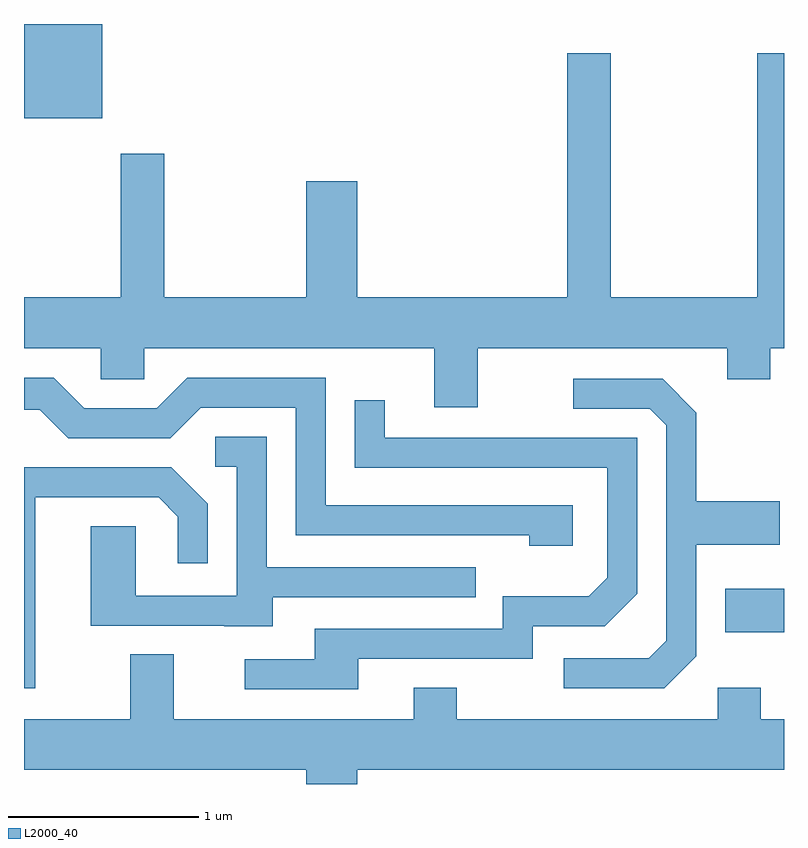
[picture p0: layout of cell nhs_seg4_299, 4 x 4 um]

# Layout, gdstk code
import gdstk
lib = gdstk.Library(unit=1e-6, precision=1e-09)
def R(c, l, rs):  # rectangles x0, y0, x1, y1
    for r in rs: c.add(gdstk.rectangle(r[:2], r[2:], *l))
def P(c, l, *ps):  # polygons
    for p in ps: c.add(gdstk.Polygon(p, *l))
L2000_40 = (2000, 40)

nhs_seg4_299 = lib.new_cell('nhs_seg4_299')
R(nhs_seg4_299, L2000_40, [(197.301,1308.781,197.611,1309.009), (193.611,1311.486,194.024,1311.982), (196.796,1311.981,197.374,1311.982)])
P(nhs_seg4_299, L2000_40, [(195.999,1310.276),(197.311,1310.276),(197.311,1310.111),(197.539,1310.111),(197.539,1310.276),(197.611,1310.276),(197.611,1311.829),(197.471,1311.829),(197.471,1310.544),(196.699,1310.544),(196.699,1311.829),(196.471,1311.829),(196.471,1310.544),(195.364,1310.544),(195.364,1311.154),(195.096,1311.154),(195.096,1310.544),(194.349,1310.544),(194.349,1311.299),(194.121,1311.299),(194.121,1310.544),(193.611,1310.544),(193.611,1310.276),(194.016,1310.276),(194.016,1310.111),(194.244,1310.111),(194.244,1310.276),(195.771,1310.276),(195.771,1309.966),(195.999,1309.966)],
  [(196.499,1309.449),(195.199,1309.449),(195.199,1310.119),(194.469,1310.119),(194.309,1309.959),(193.927,1309.959),(193.767,1310.119),(193.611,1310.119),(193.611,1309.951),(193.694,1309.951),(193.844,1309.801),(194.382,1309.801),(194.542,1309.961),(195.041,1309.961),(195.041,1309.291),(196.271,1309.291),(196.271,1309.236),(196.499,1309.236)],
  [(197.149,1308.654),(197.149,1309.241),(197.589,1309.241),(197.589,1309.469),(197.149,1309.469),(197.149,1309.937),(196.972,1310.114),(196.503,1310.114),(196.503,1309.956),(196.904,1309.956),(196.991,1309.869),(196.991,1308.737),(196.899,1308.644),(196.453,1308.644),(196.453,1308.486),(196.982,1308.486)],
  [(195.369,1308.641),(196.289,1308.641),(196.289,1308.811),(196.667,1308.811),(196.839,1308.984),(196.839,1309.804),(195.509,1309.804),(195.509,1310.003),(195.351,1310.003),(195.351,1309.646),(196.681,1309.646),(196.681,1309.067),(196.584,1308.969),(196.131,1308.969),(196.131,1308.799),(195.141,1308.799),(195.141,1308.639),(194.773,1308.639),(194.773,1308.481),(195.369,1308.481)],
  [(194.919,1308.966),(195.988,1308.966),(195.988,1309.124),(194.889,1309.124),(194.889,1309.809),(194.618,1309.809),(194.618,1309.651),(194.731,1309.651),(194.731,1308.974),(194.199,1308.974),(194.199,1309.339),(193.961,1309.339),(193.961,1308.816),(194.665,1308.816),(194.665,1308.811),(194.919,1308.811)],
  [(193.669,1309.491),(194.319,1309.491),(194.421,1309.389),(194.421,1309.143),(194.579,1309.143),(194.579,1309.457),(194.387,1309.649),(193.611,1309.649),(193.611,1308.486),(193.669,1308.486)],
  [(195.364,1308.056),(197.611,1308.056),(197.611,1308.324),(197.489,1308.324),(197.489,1308.489),(197.261,1308.489),(197.261,1308.324),(195.889,1308.324),(195.889,1308.489),(195.661,1308.489),(195.661,1308.324),(194.399,1308.324),(194.399,1308.664),(194.171,1308.664),(194.171,1308.324),(193.611,1308.324),(193.611,1308.056),(195.096,1308.056),(195.096,1307.982),(195.364,1307.982)])

lib.write_gds('nhs_seg4_299.gds')
